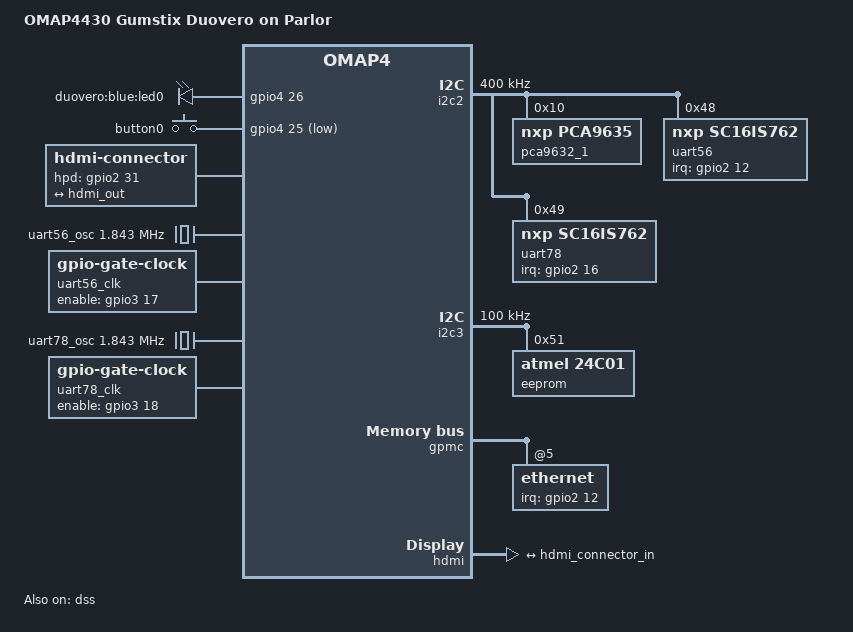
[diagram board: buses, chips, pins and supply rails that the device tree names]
/*
 * Copyright (C) 2014 Florian Vaussard, EPFL Mobots group
 *
 * This program is free software; you can redistribute it and/or modify
 * it under the terms of the GNU General Public License version 2 as
 * published by the Free Software Foundation.
 */
/dts-v1/;

#include "omap4-duovero.dtsi"

#include <dt-bindings/input/input.h>

/ {
	model = "OMAP4430 Gumstix Duovero on Parlor";
	compatible = "gumstix,omap4-duovero-parlor", "gumstix,omap4-duovero", "ti,omap4430", "ti,omap4";

	aliases {
		display0 = &hdmi0;
	};

	leds {
		compatible = "gpio-leds";
		led0 {
			label = "duovero:blue:led0";
			gpios = <&gpio4 26 GPIO_ACTIVE_HIGH>;	/* gpio_122 */
			linux,default-trigger = "heartbeat";
		};
	};

	gpio_keys {
		compatible = "gpio-keys";
		#address-cells = <1>;
		#size-cells = <0>;
		button0 {
			label = "button0";
			linux,code = <BTN_0>;
			gpios = <&gpio4 25 GPIO_ACTIVE_LOW>;	/* gpio_121 */
			wakeup-source;
		};
	};

	hdmi0: connector {
		compatible = "hdmi-connector";
		label = "hdmi";

		type = "d";

		hpd-gpios = <&gpio2 31 GPIO_ACTIVE_HIGH>;	/* gpio_63 */

		port {
			hdmi_connector_in: endpoint {
				remote-endpoint = <&hdmi_out>;
			};
		};
	};

	uart56_osc: uart56_osc {
		compatible = "fixed-clock";
		#clock-cells = <0>;
		clock-frequency = <1843200>;
	};

	uart56_clk: uart56_clk {
		compatible = "gpio-gate-clock";
		clocks = <&uart56_osc>;
		#clock-cells = <0>;
		enable-gpios = <&gpio3 17 GPIO_ACTIVE_HIGH>; /* cam_shutter.gpio_81: uart56_clk_en */
	};
	uart78_osc: uart78_osc {
		compatible = "fixed-clock";
		#clock-cells = <0>;
		clock-frequency = <1843200>;
	};

	uart78_clk: uart78_clk {
		compatible = "gpio-gate-clock";
		clocks = <&uart78_osc>;
		#clock-cells = <0>;
		enable-gpios = <&gpio3 18 GPIO_ACTIVE_HIGH>; /* cam_strobe.gpio_82: uart78_clk_en */
	};
};

&omap4_pmx_core {
	pinctrl-0 = <
			&led_pins
			&button_pins
			/*	&smsc_pins */
			&uart56ctrl_pins
			&uart78ctrl_pins
	>;

	led_pins: pinmux_led_pins {
		pinctrl-single,pins = <
			OMAP4_IOPAD(0x116, PIN_OUTPUT | MUX_MODE3)		/* abe_dmic_din3.gpio_122 */
		>;
	};

	button_pins: pinmux_button_pins {
		pinctrl-single,pins = <
			OMAP4_IOPAD(0x114, PIN_INPUT_PULLUP | MUX_MODE3)	/* abe_dmic_din2.gpio_121 */
		>;
	};

	i2c2_pins: pinmux_i2c2_pins {
		pinctrl-single,pins = <
			OMAP4_IOPAD(0x126, PIN_INPUT_PULLUP | MUX_MODE0)	/* i2c2_scl */
			OMAP4_IOPAD(0x128, PIN_INPUT_PULLUP | MUX_MODE0)	/* i2c2_sda */
		>;
	};

	i2c3_pins: pinmux_i2c3_pins {
		pinctrl-single,pins = <
			OMAP4_IOPAD(0x12a, PIN_INPUT_PULLUP | MUX_MODE0)	/* i2c3_scl */
			OMAP4_IOPAD(0x12c, PIN_INPUT_PULLUP | MUX_MODE0)	/* i2c3_sda */
		>;
	};
/*
	smsc_pins: pinmux_smsc_pins {
		pinctrl-single,pins = <
			OMAP4_IOPAD(0x068, PIN_INPUT | MUX_MODE3)		/a* gpmc_a20.gpio_44: IRQ *a/
			OMAP4_IOPAD(0x06a, PIN_INPUT_PULLUP | MUX_MODE3)	/a* gpmc_a21.gpio_45: nReset *a/
			OMAP4_IOPAD(0x070, PIN_INPUT_PULLUP | MUX_MODE3)	/a* gpmc_a24.gpio_48: amdix enabled *a/
		>;
	};
*/

	dss_hdmi_pins: pinmux_dss_hdmi_pins {
		pinctrl-single,pins = <
			OMAP4_IOPAD(0x098, PIN_INPUT | MUX_MODE3)		/* hdmi_hpd.gpio_63 */
			OMAP4_IOPAD(0x09a, PIN_INPUT | MUX_MODE0)		/* hdmi_cec.hdmi_cec */
			OMAP4_IOPAD(0x09c, PIN_INPUT_PULLUP | MUX_MODE0)	/* hdmi_ddc_scl.hdmi_ddc_scl */
			OMAP4_IOPAD(0x09e, PIN_INPUT_PULLUP | MUX_MODE0)	/* hdmi_ddc_sda.hdmi_ddc_sda */
		>;
	};

	uart56ctrl_pins: pinmux_uart56ctrl_pins {
		pinctrl-single,pins = <
			OMAP4_IOPAD(0x068, PIN_INPUT_PULLUP | MUX_MODE3)	/* gpmc_a20.gpio_44: uart56_irq */
			OMAP4_IOPAD(0x06a, PIN_INPUT_PULLUP | MUX_MODE3)	/* gpmc_a21.gpio_45: uart56_nrst */
			OMAP4_IOPAD(0x0bc, PIN_OUTPUT | MUX_MODE3)		/* cam_shutter.gpio_81: uart56_clk_en */
		>;
	};

	uart78ctrl_pins: pinmux_uart78ctrl_pins {
		pinctrl-single,pins = <
			OMAP4_IOPAD(0x070, PIN_INPUT_PULLUP | MUX_MODE3)	/* gpmc_a24.gpio_48: uart78_irq */
			OMAP4_IOPAD(0x06c, PIN_INPUT_PULLUP | MUX_MODE3)	/* gpmc_a24.gpio_46: uart78_nrst */
			OMAP4_IOPAD(0x0be, PIN_OUTPUT | MUX_MODE3)		/* cam_strobe.gpio_82: uart78_clk_en */
		>;
	};
};

&i2c2 {
	pinctrl-names = "default";
	pinctrl-0 = <&i2c2_pins>;

	clock-frequency = <400000>;

	pca9632_1: pca9632@10 {
		compatible = "nxp,pca9635";
		#address-cells = <1>;
		#size-cells = <0>;
		reg = <0x10>;

		leddeck1_red@0    { label = "led_deck[1]:red";   reg = <0>; };
		leddeck1_green@1  { label = "led_deck[1]:green"; reg = <1>; };
		leddeck1_blue@2   { label = "led_deck[1]:blue";  reg = <2>; };
		leddeck2_red@4    { label = "led_deck[2]:red";   reg = <4>; };
		leddeck2_green@5  { label = "led_deck[2]:green"; reg = <5>; };
		leddeck2_blue@6   { label = "led_deck[2]:blue";  reg = <6>; };
		leddeck3_red@8    { label = "led_deck[3]:red";   reg = <8>; };
		leddeck3_green@9  { label = "led_deck[3]:green"; reg = <9>; };
		leddeck3_blue@10  { label = "led_deck[3]:blue";  reg = <10>; };
		leddeck4_red@12   { label = "led_deck[4]:red";   reg = <12>; };
		leddeck4_green@13 { label = "led_deck[4]:green"; reg = <13>; };
		leddeck4_blue@14  { label = "led_deck[4]:blue";  reg = <14>; };
		unused0@3  { reg = <3>; };
		unused1@7  { reg = <7>; };
		unused2@11 { reg = <11>; };
		unused3@15 { reg = <15>; };
	};

	uart56: sc16is762@48 {
		compatible = "nxp,sc16is762";
		reg = <0x48>;
		clocks = <&uart56_clk>;

		interrupt-parent = <&gpio2>;
		interrupts = <12 IRQ_TYPE_EDGE_FALLING>; /* gpmc_a20.gpio_44 */
	};

	uart78: sc16is762@49 {
		compatible = "nxp,sc16is762";
		reg = <0x49>;
		clocks = <&uart78_clk>;

		interrupt-parent = <&gpio2>;
		interrupts = <16 IRQ_TYPE_EDGE_FALLING>; /* gpmc_a24.gpio_48 */
	};
};

&i2c3 {
	pinctrl-names = "default";
	pinctrl-0 = <&i2c3_pins>;

	clock-frequency = <100000>;

	/* optional 1K EEPROM with revision information */
	eeprom@51 {
		compatible = "atmel,24c01";
		reg = <0x51>;
		pagesize = <8>;
	};
};

&mmc3 {
	status = "disabled";
};

#include "omap-gpmc-smsc911x.dtsi"

&gpmc {
	ranges = <5 0 0x2c000000 0x1000000>;			/* CS5 */

	ethernet@gpmc {
		reg = <5 0 0xff>;
		interrupt-parent = <&gpio2>;
		interrupts = <12 IRQ_TYPE_LEVEL_LOW>;		/* gpio_44 */

		phy-mode = "mii";

		gpmc,cs-on-ns = <10>;
		gpmc,cs-rd-off-ns = <50>;
		gpmc,cs-wr-off-ns = <50>;
		gpmc,adv-on-ns = <0>;
		gpmc,adv-rd-off-ns = <10>;
		gpmc,adv-wr-off-ns = <10>;
		gpmc,oe-on-ns = <15>;
		gpmc,oe-off-ns = <50>;
		gpmc,we-on-ns = <15>;
		gpmc,we-off-ns = <50>;
		gpmc,rd-cycle-ns = <50>;
		gpmc,wr-cycle-ns = <50>;
		gpmc,access-ns = <50>;
		gpmc,page-burst-access-ns = <0>;
		gpmc,bus-turnaround-ns = <35>;
		gpmc,cycle2cycle-delay-ns = <35>;
		gpmc,wr-data-mux-bus-ns = <35>;
		gpmc,wr-access-ns = <50>;

		gpmc,mux-add-data = <2>;
		gpmc,sync-read;
		gpmc,sync-write;
		gpmc,clk-activation-ns = <5>;
		gpmc,sync-clk-ps = <20000>;
	};
};

&dss {
	status = "ok";
};

&hdmi {
	status = "ok";
	vdda-supply = <&vdac>;

	pinctrl-names = "default";
	pinctrl-0 = <&dss_hdmi_pins>;

	port {
		hdmi_out: endpoint {
			remote-endpoint = <&hdmi_connector_in>;
		};
	};
};

&uart3 {
	interrupts-extended = <&wakeupgen GIC_SPI 74 IRQ_TYPE_LEVEL_HIGH
			       &omap4_pmx_core OMAP4_UART3_RX>;
};
